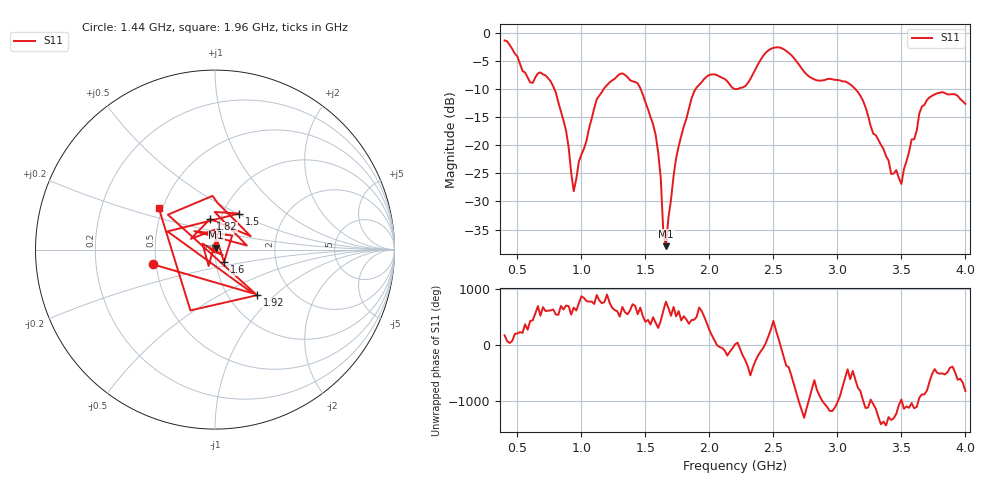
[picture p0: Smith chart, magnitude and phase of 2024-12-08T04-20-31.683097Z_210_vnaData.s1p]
!Created with skrf (http://scikit-rf.org).
# Hz S RI R 50.0
!freq ReS11 ImS11
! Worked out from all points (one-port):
!   181 points, 400 MHz to 4 GHz, reference 50 ohm
!   lowest |S11| = -38.0 dB at 1.66 GHz (marker M1), VSWR 1.03, Z = 50.7 + j1.09 ohm
!   |S11| at or under -10 dB: 789 MHz to 1.174 GHz (385 MHz wide, 39.2 % of centre); 1.463 GHz to 1.892 GHz (429.4 MHz wide, 25.6 % of centre); 3.141 GHz to end of sweep
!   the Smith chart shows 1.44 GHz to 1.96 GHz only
!   S11 on the Smith chart (normalised r, x): 1.44 GHz: 0.48, -0.09; 1.5 GHz: 1.19, +0.51; 1.6 GHz: 1.09, -0.15; 1.82 GHz: 0.89, +0.31; 1.92 GHz: 1.35, -0.78; 1.96 GHz: 0.48, +0.26
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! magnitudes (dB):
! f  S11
! 400 MHz  -1.3
! 600 MHz  -8.8
! 760 MHz  -8.6
! 860 MHz  -15.6
! 940 MHz  -28.2
! 1.12 GHz  -11.8
! 1.3 GHz  -7.3
! 1.44 GHz  -9.0
! 1.5 GHz  -12.4
! 1.6 GHz  -21.3
! 1.62 GHz  -25.8
! 1.64 GHz  -35.5
! 1.66 GHz  -38.0
! 1.76 GHz  -20.2
! 1.82 GHz  -15.3
! 1.92 GHz  -9.2
! 1.96 GHz  -8.2
! 2.2 GHz  -10.0
! 2.48 GHz  -2.8
! 2.66 GHz  -4.5
! 2.82 GHz  -8.3
! 3.1 GHz  -9.2
! 3.2 GHz  -12.1
! 3.42 GHz  -25.1
! 3.5 GHz  -26.9
! 3.56 GHz  -21.2
! 3.72 GHz  -11.5
! 4 GHz  -12.6
